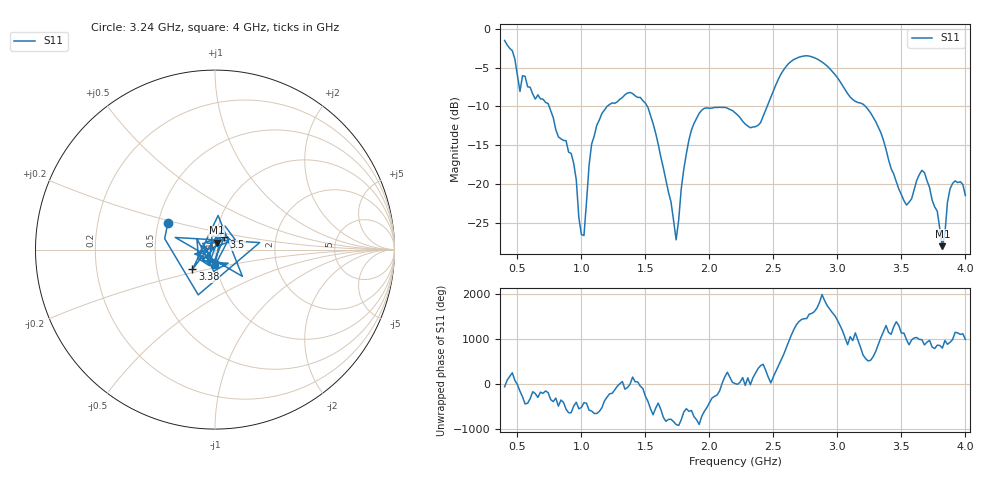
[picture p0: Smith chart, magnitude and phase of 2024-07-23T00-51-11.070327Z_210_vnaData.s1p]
!Created with skrf (http://scikit-rf.org).
# Hz S RI R 50.0
!freq ReS11 ImS11
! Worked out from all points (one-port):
!   181 points, 400 MHz to 4 GHz, reference 50 ohm
!   lowest |S11| = -28.1 dB at 3.82 GHz (marker M1), VSWR 1.08, Z = 50.7 + j3.92 ohm
!   |S11| at or under -10 dB: 748.1 MHz to 1.2 GHz (451.6 MHz wide, 46.4 % of centre); 1.515 GHz to 2.451 GHz (935.9 MHz wide, 47.2 % of centre); 3.22 GHz to end of sweep
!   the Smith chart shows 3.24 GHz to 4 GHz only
!   S11 on the Smith chart (normalised r, x): 3.24 GHz: 0.56, +0.19; 3.38 GHz: 0.76, -0.17; 3.5 GHz: 1.10, +0.15; 4 GHz: 0.99, -0.17
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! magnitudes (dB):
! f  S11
! 400 MHz  -1.5
! 480 MHz  -3.9
! 520 MHz  -8.1
! 560 MHz  -6.1
! 860 MHz  -14.4
! 940 MHz  -17.4
! 980 MHz  -24.4
! 1.02 GHz  -26.7
! 1.08 GHz  -14.9
! 1.3 GHz  -9.1
! 1.52 GHz  -10.1
! 1.74 GHz  -27.2
! 1.76 GHz  -24.7
! 1.84 GHz  -14.3
! 1.92 GHz  -10.9
! 2.2 GHz  -10.8
! 2.38 GHz  -12.4
! 2.66 GHz  -3.9
! 2.86 GHz  -4.0
! 3.1 GHz  -8.8
! 3.24 GHz  -10.4
! 3.38 GHz  -15.6
! 3.5 GHz  -21.4
! 3.56 GHz  -22.4
! 3.68 GHz  -18.5
! 3.82 GHz  -28.1
! 3.88 GHz  -20.7
! 4 GHz  -21.5
